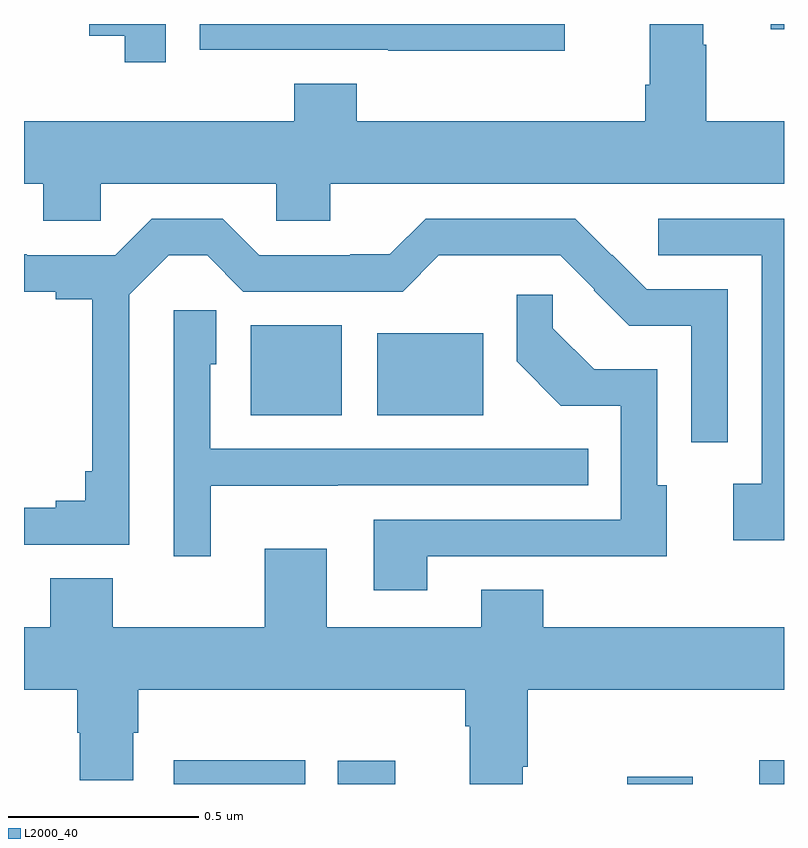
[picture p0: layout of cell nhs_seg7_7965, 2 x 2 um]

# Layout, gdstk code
import gdstk
lib = gdstk.Library(unit=1e-6, precision=1e-09)
def R(c, l, rs):  # rectangles x0, y0, x1, y1
    for r in rs: c.add(gdstk.rectangle(r[:2], r[2:], *l))
def P(c, l, *ps):  # polygons
    for p in ps: c.add(gdstk.Polygon(p, *l))
L2000_40 = (2000, 40)

nhs_seg7_7965 = lib.new_cell('nhs_seg7_7965')
R(nhs_seg7_7965, L2000_40, [(218.394,1035,218.74,1035.062), (218.826,1035,218.977,1035.061), (219.587,1035,219.76,1035.019), (219.935,1035,220,1035.062), (218.597,1035.971,218.836,1036.207), (218.93,1035.971,219.208,1036.186), (219.965,1036.986,220,1037)])
P(nhs_seg7_7965, L2000_40, [(218.202,1036.58),(218.664,1036.58),(218.664,1036.482),(218.806,1036.482),(218.806,1036.58),(220,1036.58),(220,1036.744),(219.795,1036.744),(219.795,1036.946),(219.787,1036.946),(219.787,1037),(219.647,1037),(219.647,1036.84),(219.635,1036.84),(219.635,1036.744),(218.876,1036.744),(218.876,1036.843),(218.711,1036.843),(218.711,1036.744),(218,1036.744),(218,1036.58),(218.051,1036.58),(218.051,1036.482),(218.202,1036.482)],
  [(218.373,1037),(218.172,1037),(218.172,1036.969),(218.265,1036.969),(218.265,1036.899),(218.373,1036.899)],
  [(219.423,1037),(218.463,1037),(218.463,1036.932),(218.959,1036.932),(218.959,1036.93),(219.423,1036.93)],
  [(218.277,1036.287),(218.381,1036.391),(218.482,1036.391),(218.577,1036.296),(218.997,1036.296),(219.092,1036.391),(219.196,1036.391),(219.196,1036.392),(219.411,1036.392),(219.501,1036.302),(219.499,1036.3),(219.593,1036.206),(219.756,1036.206),(219.756,1035.9),(219.852,1035.9),(219.852,1036.302),(219.639,1036.302),(219.548,1036.393),(219.547,1036.392),(219.451,1036.488),(219.057,1036.488),(218.963,1036.394),(218.858,1036.394),(218.858,1036.392),(218.619,1036.392),(218.523,1036.488),(218.336,1036.488),(218.24,1036.392),(218.007,1036.392),(218.007,1036.394),(218,1036.394),(218,1036.296),(218.084,1036.296),(218.084,1036.276),(218.18,1036.276),(218.18,1035.823),(218.161,1035.823),(218.161,1035.746),(218.084,1035.746),(218.084,1035.727),(218,1035.727),(218,1035.63),(218.277,1035.63)],
  [(220,1036.488),(219.669,1036.488),(219.669,1036.392),(219.942,1036.392),(219.942,1035.79),(219.867,1035.79),(219.867,1035.642),(220,1035.642)],
  [(219.061,1035.6),(219.473,1035.6),(219.473,1035.599),(219.691,1035.599),(219.691,1035.786),(219.666,1035.786),(219.666,1036.092),(219.5,1036.092),(219.392,1036.2),(219.392,1036.288),(219.297,1036.288),(219.297,1036.112),(219.413,1035.996),(219.57,1035.996),(219.57,1035.696),(218.921,1035.696),(218.921,1035.51),(219.061,1035.51)],
  [(218.491,1035.785),(218.825,1035.785),(218.825,1035.786),(219.485,1035.786),(219.485,1035.882),(218.49,1035.882),(218.49,1036.104),(218.506,1036.104),(218.506,1036.247),(218.394,1036.247),(218.394,1035.6),(218.491,1035.6)],
  [(219.313,1035.046),(219.326,1035.046),(219.326,1035.248),(220,1035.248),(220,1035.412),(219.367,1035.412),(219.367,1035.511),(219.203,1035.511),(219.203,1035.412),(218.797,1035.412),(218.797,1035.619),(218.633,1035.619),(218.633,1035.412),(218.233,1035.412),(218.233,1035.541),(218.069,1035.541),(218.069,1035.412),(218,1035.412),(218,1035.248),(218.14,1035.248),(218.14,1035.135),(218.147,1035.135),(218.147,1035.01),(218.287,1035.01),(218.287,1035.135),(218.3,1035.135),(218.3,1035.248),(219.161,1035.248),(219.161,1035.152),(219.173,1035.152),(219.173,1035),(219.313,1035)])

lib.write_gds('nhs_seg7_7965.gds')
